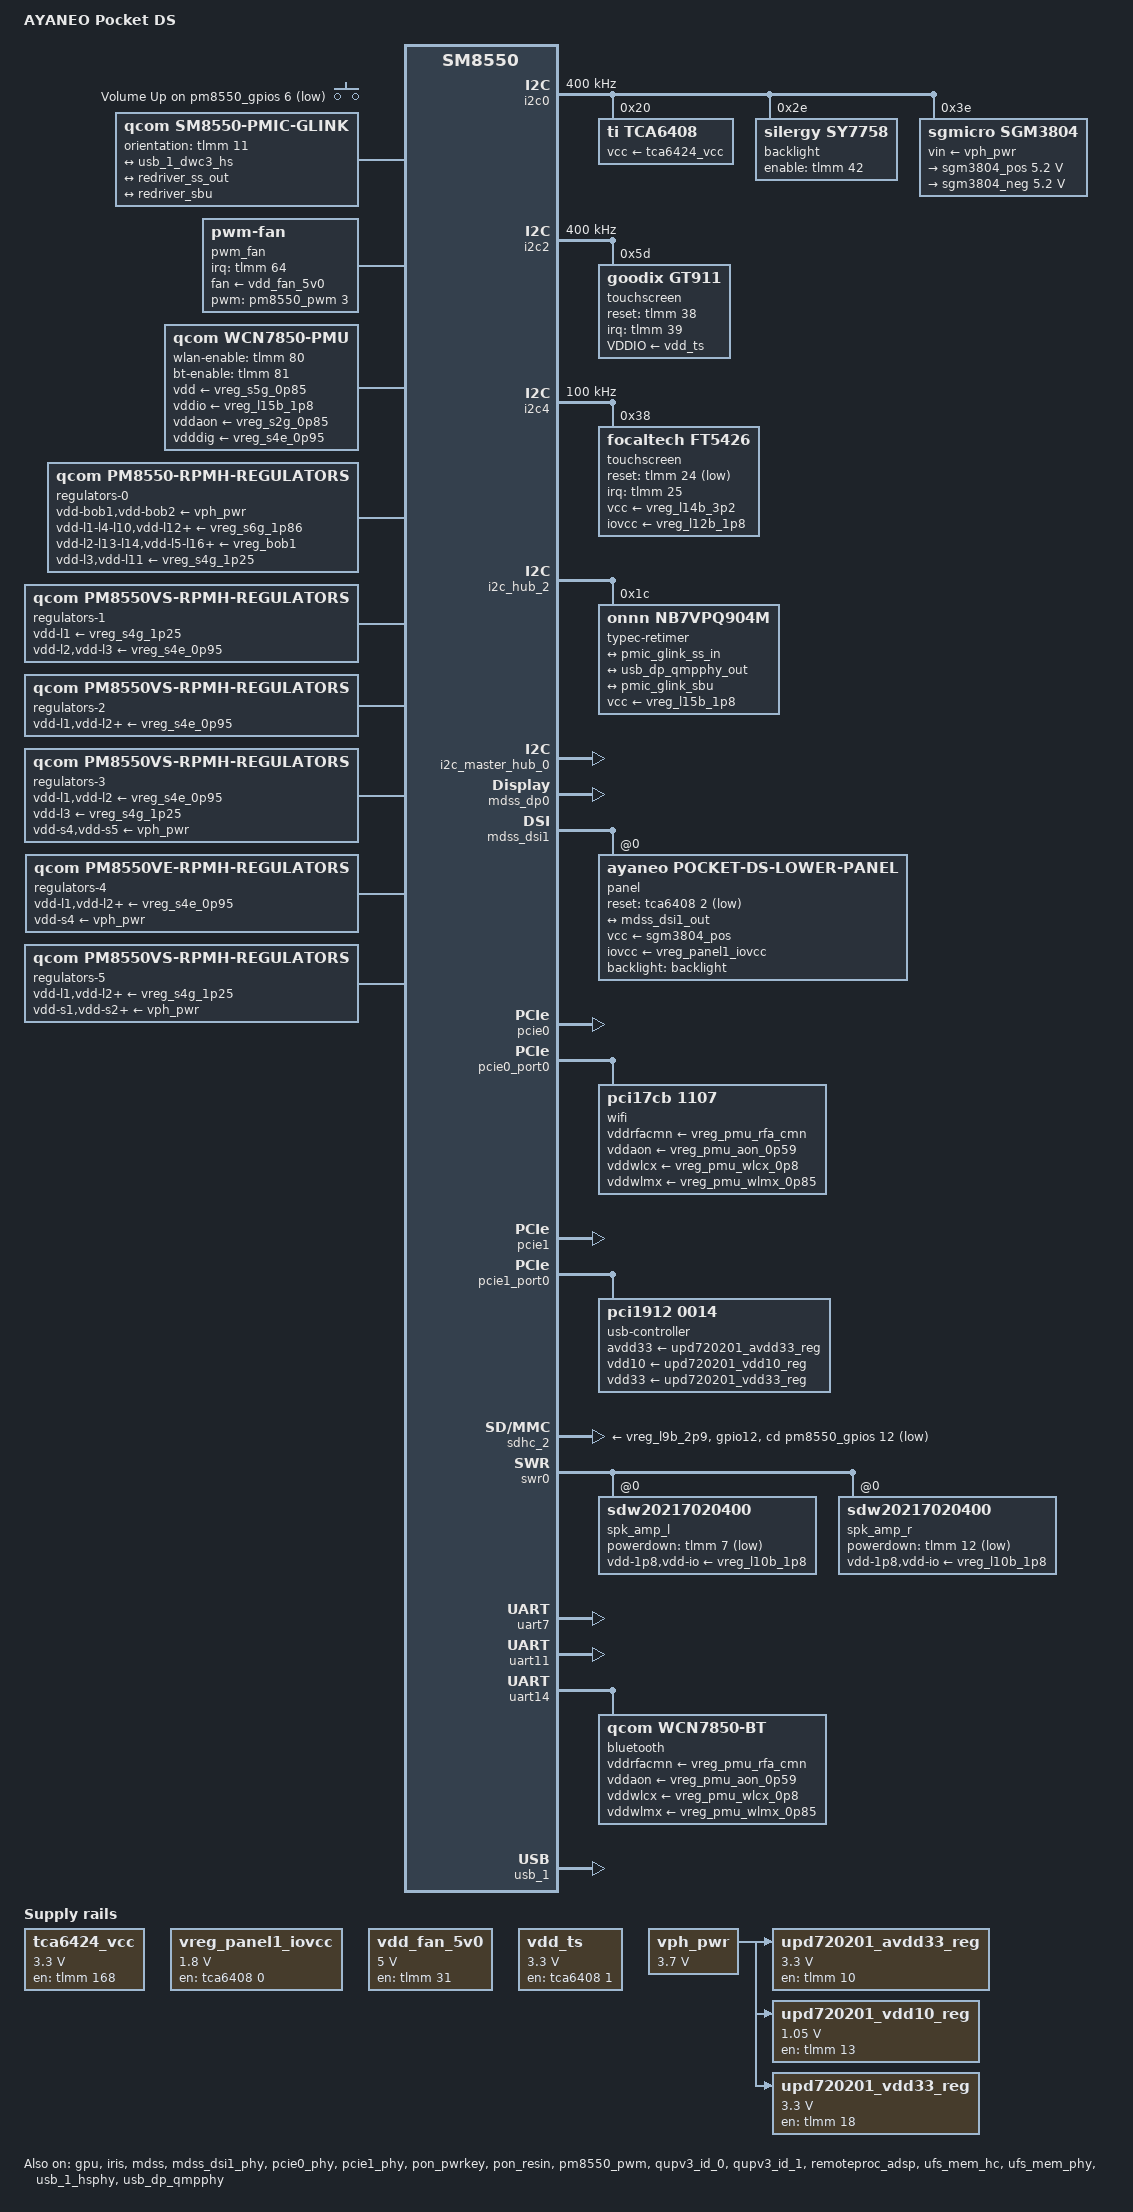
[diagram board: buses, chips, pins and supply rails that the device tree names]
// SPDX-License-Identifier: BSD-3-Clause
/*
 * Copyright (c) 2025, Teguh Sobirin.
 * Copyright (c) 2025, ROCKNIX (https://github.com/ROCKNIX)
 */

/dts-v1/;

#include <dt-bindings/input/input.h>
#include <dt-bindings/leds/common.h>
#include <dt-bindings/regulator/qcom,rpmh-regulator.h>
#include "qcs8550.dtsi"
#include "pm8550.dtsi"
#include "pm8550b.dtsi"
#define PMK8550VE_SID 5
#include "pm8550ve.dtsi"
#include "pm8550vs.dtsi"
#include "pmk8550.dtsi"

/delete-node/ &aop_image_mem;
/delete-node/ &aop_config_mem;
/delete-node/ &camera_mem;
/delete-node/ &ipa_fw_mem;
/delete-node/ &ipa_gsi_mem;
/delete-node/ &mpss_dsm_mem;
/delete-node/ &mpss_mem;
/delete-node/ &q6_mpss_dtb_mem;
/delete-node/ &cdsp_mem;
/delete-node/ &q6_cdsp_dtb_mem;

/ {
	model = "AYANEO Pocket DS";
	compatible = "ayaneo,pocket-ds", "qcom,qcs8550", "qcom,sm8550";

	aliases {
		serial0 = &uart7;
		serial1 = &uart14;
		serial2 = &uart11;
	};

	chosen {
		stdout-path = "serial0:115200n8";
	};

	gpio-keys {
		compatible = "gpio-keys";

		pinctrl-0 = <&volume_up_n>;
		pinctrl-names = "default";

		key-volume-up {
			label = "Volume Up";
			linux,code = <KEY_VOLUMEUP>;
			gpios = <&pm8550_gpios 6 GPIO_ACTIVE_LOW>;
			debounce-interval = <15>;
		};
	};

	pmic-glink {
		compatible = "qcom,sm8550-pmic-glink", "qcom,pmic-glink";

		#address-cells = <1>;
		#size-cells = <0>;

		orientation-gpios = <&tlmm 11 GPIO_ACTIVE_HIGH>;

		connector@0 {
			compatible = "usb-c-connector";

			reg = <0>;

			power-role = "dual";
			data-role = "dual";

			ports {
				#address-cells = <1>;
				#size-cells = <0>;

				port@0 {
					reg = <0>;

					pmic_glink_hs_in: endpoint {
						remote-endpoint = <&usb_1_dwc3_hs>;
					};
				};

				port@1 {
					reg = <1>;

					pmic_glink_ss_in: endpoint {
						remote-endpoint = <&redriver_ss_out>;
					};
				};

				port@2 {
					reg = <2>;

					pmic_glink_sbu: endpoint {
						remote-endpoint = <&redriver_sbu>;
					};
				};
			};
		};
	};

	pwm_fan: pwm-fan {
		compatible = "pwm-fan";

		pinctrl-0 = <&fan_pwm_active>, <&fan_int>;
		pinctrl-1 = <&fan_pwm_sleep>, <&fan_int>;
		pinctrl-names = "default", "sleep";

		fan-supply = <&vdd_fan_5v0>;
		pwms = <&pm8550_pwm 3 40000>;

		interrupt-parent = <&tlmm>;
		interrupts = <64 IRQ_TYPE_EDGE_FALLING>;

		#cooling-cells = <2>;
		cooling-levels = <0 30 45 60 70 90 120 150>;
	};

	reserved-memory {
		hyp_mem: hyp-region@80000000 {
			reg = <0 0x80000000 0 0xa00000>;
			no-map;
		};

		cpusys_vm_mem: cpusys-vm-region@80a00000 {
			reg = <0 0x80a00000 0 0x400000>;
			no-map;
		};

		hyp_tags_mem: hyp-tags-region@80e00000 {
			reg = <0 0x80e00000 0 0x3d0000>;
			no-map;
		};

		xbl_sc_mem: xbl-sc-region@d8100000 {
			reg = <0 0xd8100000 0 0x40000>;
			no-map;
		};

		hyp_tags_reserved_mem: hyp-tags-reserved-region@811d0000 {
			reg = <0 0x811d0000 0 0x30000>;
			no-map;
		};

		xbl_dt_log_merged_mem: xbl-dt-log-merged-region@81a00000 {
			reg = <0 0x81a00000 0 0x260000>;
			no-map;
		};

		aop_config_merged_mem: aop-config-merged-region@81c80000 {
			reg = <0 0x81c80000 0 0x74000>;
			no-map;
		};

		chipinfo_mem: chipinfo-region@81cf4000 {
			reg = <0 0x81cf4000 0 0x1000>;
			no-map;
		};

		global_sync_mem: global-sync-region@82600000 {
			reg = <0 0x82600000 0 0x100000>;
			no-map;
		};

		tz_stat_mem: tz-stat-region@82700000 {
			reg = <0 0x82700000 0 0x100000>;
			no-map;
		};

		cpucp_fw_mem: cpucp-fw-region@d8140000 {
			reg = <0 0xd8140000 0 0x1c0000>;
			no-map;
		};

		qtee_mem: qtee-region@d8300000 {
			reg = <0 0xd8300000 0 0x500000>;
			no-map;
		};

		hwfence_shbuf: hwfence-shbuf-region@e6440000 {
			reg = <0 0xe6440000 0 0x2dd000>;
			no-map;
		};

		hyp_ext_reserved_mem: hyp-ext-reserved-region@ff700000 {
			reg = <0 0xff700000 0 0x100000>;
			no-map;
		};

		llcc_lpi_mem: llcc-lpi-region@ff800000 {
			reg = <0 0xff800000 0 0x600000>;
			no-map;
		};

		hyp_ext_tags_mem: hyp-ext-tags-region@fce00000 {
			reg = <0 0xfce00000 0 0x2900000>;
			no-map;
		};

		splash_region: splash-region@b8000000 {
			reg = <0x0 0xb8000000 0x0 0x2b00000>;
			no-map;
		};
	};

	sound {
		compatible = "qcom,sm8550-sndcard", "qcom,sm8450-sndcard";
		model = "SM8550-APS";

		audio-routing = "SpkrLeft IN", "WSA_SPK1 OUT",
				"SpkrRight IN", "WSA_SPK2 OUT";

		wsa-dai-link {
			link-name = "WSA Playback";

			codec {
				sound-dai = <&spk_amp_l>,
					    <&spk_amp_r>,
					    <&swr0 0>,
					    <&lpass_wsamacro 0>;
			};

			cpu {
				sound-dai = <&q6apmbedai WSA_CODEC_DMA_RX_0>;
			};

			platform {
				sound-dai = <&q6apm>;
			};
		};

		va-dai-link {
			link-name = "VA Capture";

			codec {
				sound-dai = <&lpass_vamacro 0>;
			};

			cpu {
				sound-dai = <&q6apmbedai VA_CODEC_DMA_TX_0>;
			};

			platform {
				sound-dai = <&q6apm>;
			};
		};
	};

	tca6424_vcc: tca6424-vcc-regulator {
		compatible = "regulator-fixed";

		regulator-name = "tca6424_vcc";
		regulator-min-microvolt = <3300000>;
		regulator-max-microvolt = <3300000>;

		gpios = <&tlmm 168 GPIO_ACTIVE_HIGH>;
		enable-active-high;
		regulator-boot-on;

		regulator-state-mem {
			regulator-off-in-suspend;
		};
	};

	upd720201_avdd33_reg: upd720201-avdd33-regulator {
		compatible = "regulator-fixed";

		regulator-name = "upd720201_avdd33";
		regulator-min-microvolt = <3300000>;
		regulator-max-microvolt = <3300000>;

		gpios = <&tlmm 10 GPIO_ACTIVE_HIGH>;
		enable-active-high;

		vin-supply = <&vph_pwr>;

		pinctrl-0 = <&upd720201_avdd33>;
		pinctrl-names = "default";
	};

	upd720201_vdd10_reg: upd720201-vdd10-regulator {
		compatible = "regulator-fixed";

		regulator-name = "upd720201_vdd10";
		regulator-min-microvolt = <1050000>;
		regulator-max-microvolt = <1050000>;

		gpios = <&tlmm 13 GPIO_ACTIVE_HIGH>;
		enable-active-high;

		vin-supply = <&vph_pwr>;

		pinctrl-0 = <&upd720201_vdd10>;
		pinctrl-names = "default";
	};

	upd720201_vdd33_reg: upd720201-vdd33-regulator {
		compatible = "regulator-fixed";

		regulator-name = "upd720201_vdd33";
		regulator-min-microvolt = <3300000>;
		regulator-max-microvolt = <3300000>;

		gpios = <&tlmm 18 GPIO_ACTIVE_HIGH>;
		enable-active-high;

		vin-supply = <&vph_pwr>;

		pinctrl-0 = <&upd720201_vdd33>;
		pinctrl-names = "default";
	};

	vreg_panel1_iovcc: panel1-iovcc-regulator {
		compatible = "regulator-fixed";

		regulator-name = "panel1_iovcc";
		regulator-min-microvolt = <1800000>;
		regulator-max-microvolt = <1800000>;

		gpios = <&tca6408 0 GPIO_ACTIVE_HIGH>;
		enable-active-high;
	};

	vdd_fan_5v0: vdd-fan-5v0-regulator {
		compatible = "regulator-fixed";

		regulator-name = "vdd_fan_5v0";
		regulator-min-microvolt = <5000000>;
		regulator-max-microvolt = <5000000>;

		gpios = <&tlmm 31 GPIO_ACTIVE_HIGH>;
		enable-active-high;

		pinctrl-0 = <&fan_pwr_active>;
		pinctrl-names = "default";

		regulator-state-mem {
			regulator-off-in-suspend;
		};
	};

	vdd_ts: vdd-ts-regulator {
		compatible = "regulator-fixed";

		regulator-name = "vdd_ts_en";
		regulator-min-microvolt = <3300000>;
		regulator-max-microvolt = <3300000>;

		gpios = <&tca6408 1 GPIO_ACTIVE_HIGH>;
		enable-active-high;
	};

	vph_pwr: vph-pwr-regulator {
		compatible = "regulator-fixed";

		regulator-name = "vph_pwr";
		regulator-min-microvolt = <3700000>;
		regulator-max-microvolt = <3700000>;

		regulator-always-on;
		regulator-boot-on;
	};

	wcn7850-pmu {
		compatible = "qcom,wcn7850-pmu";

		pinctrl-0 = <&wlan_en>, <&bt_default>, <&pmk8550_sleep_clk>;
		pinctrl-names = "default";

		wlan-enable-gpios = <&tlmm 80 GPIO_ACTIVE_HIGH>;
		bt-enable-gpios = <&tlmm 81 GPIO_ACTIVE_HIGH>;

		vdd-supply = <&vreg_s5g_0p85>;
		vddio-supply = <&vreg_l15b_1p8>;
		vddaon-supply = <&vreg_s2g_0p85>;
		vdddig-supply = <&vreg_s4e_0p95>;
		vddrfa1p2-supply = <&vreg_s4g_1p25>;
		vddrfa1p8-supply = <&vreg_s6g_1p86>;

		regulators {
			vreg_pmu_rfa_cmn: ldo0 {
				regulator-name = "vreg_pmu_rfa_cmn";
			};

			vreg_pmu_aon_0p59: ldo1 {
				regulator-name = "vreg_pmu_aon_0p59";
			};

			vreg_pmu_wlcx_0p8: ldo2 {
				regulator-name = "vreg_pmu_wlcx_0p8";
			};

			vreg_pmu_wlmx_0p85: ldo3 {
				regulator-name = "vreg_pmu_wlmx_0p85";
			};

			vreg_pmu_btcmx_0p85: ldo4 {
				regulator-name = "vreg_pmu_btcmx_0p85";
			};

			vreg_pmu_rfa_0p8: ldo5 {
				regulator-name = "vreg_pmu_rfa_0p8";
			};

			vreg_pmu_rfa_1p2: ldo6 {
				regulator-name = "vreg_pmu_rfa_1p2";
			};

			vreg_pmu_rfa_1p8: ldo7 {
				regulator-name = "vreg_pmu_rfa_1p8";
			};

			vreg_pmu_pcie_0p9: ldo8 {
				regulator-name = "vreg_pmu_pcie_0p9";
			};

			vreg_pmu_pcie_1p8: ldo9 {
				regulator-name = "vreg_pmu_pcie_1p8";
			};
		};
	};
};

&apps_rsc {
	regulators-0 {
		compatible = "qcom,pm8550-rpmh-regulators";
		qcom,pmic-id = "b";

		vdd-bob1-supply = <&vph_pwr>;
		vdd-bob2-supply = <&vph_pwr>;
		vdd-l1-l4-l10-supply = <&vreg_s6g_1p86>;
		vdd-l2-l13-l14-supply = <&vreg_bob1>;
		vdd-l3-supply = <&vreg_s4g_1p25>;
		vdd-l5-l16-supply = <&vreg_bob1>;
		vdd-l6-l7-supply = <&vreg_bob1>;
		vdd-l8-l9-supply = <&vreg_bob1>;
		vdd-l11-supply = <&vreg_s4g_1p25>;
		vdd-l12-supply = <&vreg_s6g_1p86>;
		vdd-l15-supply = <&vreg_s6g_1p86>;
		vdd-l17-supply = <&vreg_bob2>;

		vreg_bob1: bob1 {
			regulator-name = "vreg_bob1";
			regulator-min-microvolt = <3296000>;
			regulator-max-microvolt = <3960000>;
			regulator-initial-mode = <RPMH_REGULATOR_MODE_HPM>;
		};

		vreg_bob2: bob2 {
			regulator-name = "vreg_bob2";
			regulator-min-microvolt = <2720000>;
			regulator-max-microvolt = <3960000>;
			regulator-initial-mode = <RPMH_REGULATOR_MODE_HPM>;
		};

		vreg_l2b_3p0: ldo2 {
			regulator-name = "vreg_l2b_3p0";
			regulator-min-microvolt = <3008000>;
			regulator-max-microvolt = <3008000>;
			regulator-initial-mode = <RPMH_REGULATOR_MODE_HPM>;
			regulator-allow-set-load;
			regulator-allowed-modes = <RPMH_REGULATOR_MODE_LPM
						   RPMH_REGULATOR_MODE_HPM>;
		};

		vreg_l5b_3p1: ldo5 {
			regulator-name = "vreg_l5b_3p1";
			regulator-min-microvolt = <3104000>;
			regulator-max-microvolt = <3104000>;
			regulator-initial-mode = <RPMH_REGULATOR_MODE_HPM>;
			regulator-allow-set-load;
			regulator-allowed-modes = <RPMH_REGULATOR_MODE_LPM
						   RPMH_REGULATOR_MODE_HPM>;
		};

		vreg_l6b_1p8: ldo6 {
			regulator-name = "vreg_l6b_1p8";
			regulator-min-microvolt = <1800000>;
			regulator-max-microvolt = <3008000>;
			regulator-initial-mode = <RPMH_REGULATOR_MODE_HPM>;
			regulator-allow-set-load;
			regulator-allowed-modes = <RPMH_REGULATOR_MODE_LPM
						   RPMH_REGULATOR_MODE_HPM>;
		};

		vreg_l7b_1p8: ldo7 {
			regulator-name = "vreg_l7b_1p8";
			regulator-min-microvolt = <1800000>;
			regulator-max-microvolt = <3008000>;
			regulator-initial-mode = <RPMH_REGULATOR_MODE_HPM>;
		};

		vreg_l8b_1p8: ldo8 {
			regulator-name = "vreg_l8b_1p8";
			regulator-min-microvolt = <1800000>;
			regulator-max-microvolt = <3008000>;
			regulator-initial-mode = <RPMH_REGULATOR_MODE_HPM>;
			regulator-allow-set-load;
			regulator-allowed-modes = <RPMH_REGULATOR_MODE_LPM
						   RPMH_REGULATOR_MODE_HPM>;
		};

		vreg_l9b_2p9: ldo9 {
			regulator-name = "vreg_l9b_2p9";
			regulator-min-microvolt = <2960000>;
			regulator-max-microvolt = <3008000>;
			regulator-initial-mode = <RPMH_REGULATOR_MODE_HPM>;
			regulator-allow-set-load;
			regulator-allowed-modes = <RPMH_REGULATOR_MODE_LPM
						   RPMH_REGULATOR_MODE_HPM>;
		};

		vreg_l10b_1p8: ldo10 {
			regulator-name = "vreg_l10b_1p8";
			regulator-min-microvolt = <1800000>;
			regulator-max-microvolt = <1800000>;
			regulator-initial-mode = <RPMH_REGULATOR_MODE_HPM>;
			regulator-allow-set-load;
			regulator-allowed-modes = <RPMH_REGULATOR_MODE_LPM
						   RPMH_REGULATOR_MODE_HPM>;
		};

		vreg_l11b_1p2: ldo11 {
			regulator-name = "vreg_l11b_1p2";
			regulator-min-microvolt = <1200000>;
			regulator-max-microvolt = <1504000>;
			regulator-initial-mode = <RPMH_REGULATOR_MODE_HPM>;
			regulator-allow-set-load;
			regulator-allowed-modes = <RPMH_REGULATOR_MODE_LPM
						   RPMH_REGULATOR_MODE_HPM>;
		};

		vreg_l12b_1p8: ldo12 {
			regulator-name = "vreg_l12b_1p8";
			regulator-min-microvolt = <1800000>;
			regulator-max-microvolt = <1800000>;
			regulator-initial-mode = <RPMH_REGULATOR_MODE_HPM>;
			regulator-allow-set-load;
			regulator-allowed-modes = <RPMH_REGULATOR_MODE_LPM
						   RPMH_REGULATOR_MODE_HPM>;
		};

		vreg_l13b_3p0: ldo13 {
			regulator-name = "vreg_l13b_3p0";
			regulator-min-microvolt = <3000000>;
			regulator-max-microvolt = <3000000>;
			regulator-initial-mode = <RPMH_REGULATOR_MODE_HPM>;
			regulator-allow-set-load;
			regulator-allowed-modes = <RPMH_REGULATOR_MODE_LPM
						   RPMH_REGULATOR_MODE_HPM>;
		};

		vreg_l14b_3p2: ldo14 {
			regulator-name = "vreg_l14b_3p2";
			regulator-min-microvolt = <3200000>;
			regulator-max-microvolt = <3200000>;
			regulator-initial-mode = <RPMH_REGULATOR_MODE_HPM>;
			regulator-allow-set-load;
			regulator-allowed-modes = <RPMH_REGULATOR_MODE_LPM
						   RPMH_REGULATOR_MODE_HPM>;
		};

		vreg_l15b_1p8: ldo15 {
			regulator-name = "vreg_l15b_1p8";
			regulator-min-microvolt = <1800000>;
			regulator-max-microvolt = <1800000>;
			regulator-initial-mode = <RPMH_REGULATOR_MODE_HPM>;
			regulator-allow-set-load;
			regulator-allowed-modes = <RPMH_REGULATOR_MODE_LPM
						   RPMH_REGULATOR_MODE_HPM>;
		};

		vreg_l16b_2p8: ldo16 {
			regulator-name = "vreg_l16b_2p8";
			regulator-min-microvolt = <2800000>;
			regulator-max-microvolt = <2800000>;
			regulator-initial-mode = <RPMH_REGULATOR_MODE_HPM>;
			regulator-allow-set-load;
			regulator-allowed-modes = <RPMH_REGULATOR_MODE_LPM
						   RPMH_REGULATOR_MODE_HPM>;
		};

		vreg_l17b_2p5: ldo17 {
			regulator-name = "vreg_l17b_2p5";
			regulator-min-microvolt = <2504000>;
			regulator-max-microvolt = <2504000>;
			regulator-initial-mode = <RPMH_REGULATOR_MODE_HPM>;
		};
	};

	regulators-1 {
		compatible = "qcom,pm8550vs-rpmh-regulators";
		qcom,pmic-id = "c";

		vdd-l1-supply = <&vreg_s4g_1p25>;
		vdd-l2-supply = <&vreg_s4e_0p95>;
		vdd-l3-supply = <&vreg_s4e_0p95>;

		vreg_l3c_0p9: ldo3 {
			regulator-name = "vreg_l3c_0p9";
			regulator-min-microvolt = <880000>;
			regulator-max-microvolt = <912000>;
			regulator-initial-mode = <RPMH_REGULATOR_MODE_HPM>;
			regulator-allow-set-load;
			regulator-allowed-modes = <RPMH_REGULATOR_MODE_LPM
						   RPMH_REGULATOR_MODE_HPM>;
		};
	};

	regulators-2 {
		compatible = "qcom,pm8550vs-rpmh-regulators";
		qcom,pmic-id = "d";

		vdd-l1-supply = <&vreg_s4e_0p95>;
		vdd-l2-supply = <&vreg_s4e_0p95>;
		vdd-l3-supply = <&vreg_s4e_0p95>;

		vreg_l1d_0p88: ldo1 {
			regulator-name = "vreg_l1d_0p88";
			regulator-min-microvolt = <880000>;
			regulator-max-microvolt = <920000>;
			regulator-initial-mode = <RPMH_REGULATOR_MODE_HPM>;
			regulator-allow-set-load;
			regulator-allowed-modes = <RPMH_REGULATOR_MODE_LPM
						   RPMH_REGULATOR_MODE_HPM>;
		};
	};

	regulators-3 {
		compatible = "qcom,pm8550vs-rpmh-regulators";
		qcom,pmic-id = "e";

		vdd-l1-supply = <&vreg_s4e_0p95>;
		vdd-l2-supply = <&vreg_s4e_0p95>;
		vdd-l3-supply = <&vreg_s4g_1p25>;
		vdd-s4-supply = <&vph_pwr>;
		vdd-s5-supply = <&vph_pwr>;

		vreg_s4e_0p95: smps4 {
			regulator-name = "vreg_s4e_0p95";
			regulator-min-microvolt = <904000>;
			regulator-max-microvolt = <984000>;
			regulator-initial-mode = <RPMH_REGULATOR_MODE_HPM>;
		};

		vreg_s5e_1p08: smps5 {
			regulator-name = "vreg_s5e_1p08";
			regulator-min-microvolt = <1010000>;
			regulator-max-microvolt = <1120000>;
			regulator-initial-mode = <RPMH_REGULATOR_MODE_HPM>;
		};

		vreg_l1e_0p88: ldo1 {
			regulator-name = "vreg_l1e_0p88";
			regulator-min-microvolt = <880000>;
			regulator-max-microvolt = <880000>;
			regulator-initial-mode = <RPMH_REGULATOR_MODE_HPM>;
			regulator-allow-set-load;
			regulator-allowed-modes = <RPMH_REGULATOR_MODE_LPM
						   RPMH_REGULATOR_MODE_HPM>;
		};

		vreg_l2e_0p9: ldo2 {
			regulator-name = "vreg_l2e_0p9";
			regulator-min-microvolt = <904000>;
			regulator-max-microvolt = <970000>;
			regulator-initial-mode = <RPMH_REGULATOR_MODE_HPM>;
			regulator-allow-set-load;
			regulator-allowed-modes = <RPMH_REGULATOR_MODE_LPM
						   RPMH_REGULATOR_MODE_HPM>;
		};

		vreg_l3e_1p2: ldo3 {
			regulator-name = "vreg_l3e_1p2";
			regulator-min-microvolt = <1200000>;
			regulator-max-microvolt = <1200000>;
			regulator-initial-mode = <RPMH_REGULATOR_MODE_HPM>;
			regulator-allow-set-load;
			regulator-allowed-modes = <RPMH_REGULATOR_MODE_LPM
						   RPMH_REGULATOR_MODE_HPM>;
		};
	};

	regulators-4 {
		compatible = "qcom,pm8550ve-rpmh-regulators";
		qcom,pmic-id = "f";

		vdd-l1-supply = <&vreg_s4e_0p95>;
		vdd-l2-supply = <&vreg_s4e_0p95>;
		vdd-l3-supply = <&vreg_s4e_0p95>;
		vdd-s4-supply = <&vph_pwr>;

		vreg_s4f_0p5: smps4 {
			regulator-name = "vreg_s4f_0p5";
			regulator-min-microvolt = <500000>;
			regulator-max-microvolt = <700000>;
			regulator-initial-mode = <RPMH_REGULATOR_MODE_HPM>;
		};

		vreg_l1f_0p9: ldo1 {
			regulator-name = "vreg_l1f_0p9";
			regulator-min-microvolt = <912000>;
			regulator-max-microvolt = <912000>;
			regulator-initial-mode = <RPMH_REGULATOR_MODE_HPM>;
			regulator-allow-set-load;
			regulator-allowed-modes = <RPMH_REGULATOR_MODE_LPM
						   RPMH_REGULATOR_MODE_HPM>;
		};

		vreg_l2f_0p88: ldo2 {
			regulator-name = "vreg_l2f_0p88";
			regulator-min-microvolt = <880000>;
			regulator-max-microvolt = <912000>;
			regulator-initial-mode = <RPMH_REGULATOR_MODE_HPM>;
			regulator-allow-set-load;
			regulator-allowed-modes = <RPMH_REGULATOR_MODE_LPM
						   RPMH_REGULATOR_MODE_HPM>;
		};

		vreg_l3f_0p88: ldo3 {
			regulator-name = "vreg_l3f_0p88";
			regulator-min-microvolt = <880000>;
			regulator-max-microvolt = <912000>;
			regulator-initial-mode = <RPMH_REGULATOR_MODE_HPM>;
			regulator-allow-set-load;
			regulator-allowed-modes = <RPMH_REGULATOR_MODE_LPM
						   RPMH_REGULATOR_MODE_HPM>;
		};
	};

	regulators-5 {
		compatible = "qcom,pm8550vs-rpmh-regulators";
		qcom,pmic-id = "g";

		vdd-l1-supply = <&vreg_s4g_1p25>;
		vdd-l2-supply = <&vreg_s4g_1p25>;
		vdd-l3-supply = <&vreg_s4g_1p25>;
		vdd-s1-supply = <&vph_pwr>;
		vdd-s2-supply = <&vph_pwr>;
		vdd-s3-supply = <&vph_pwr>;
		vdd-s4-supply = <&vph_pwr>;
		vdd-s5-supply = <&vph_pwr>;
		vdd-s6-supply = <&vph_pwr>;

		vreg_s1g_1p25: smps1 {
			regulator-name = "vreg_s1g_1p25";
			regulator-min-microvolt = <1200000>;
			regulator-max-microvolt = <1300000>;
			regulator-initial-mode = <RPMH_REGULATOR_MODE_HPM>;
		};

		vreg_s2g_0p85: smps2 {
			regulator-name = "vreg_s2g_0p85";
			regulator-min-microvolt = <800000>;
			regulator-max-microvolt = <1000000>;
			regulator-initial-mode = <RPMH_REGULATOR_MODE_HPM>;
		};

		vreg_s3g_0p8: smps3 {
			regulator-name = "vreg_s3g_0p8";
			regulator-min-microvolt = <300000>;
			regulator-max-microvolt = <1004000>;
			regulator-initial-mode = <RPMH_REGULATOR_MODE_HPM>;
		};

		vreg_s4g_1p25: smps4 {
			regulator-name = "vreg_s4g_1p25";
			regulator-min-microvolt = <1200000>;
			regulator-max-microvolt = <1352000>;
			regulator-initial-mode = <RPMH_REGULATOR_MODE_HPM>;
		};

		vreg_s5g_0p85: smps5 {
			regulator-name = "vreg_s5g_0p85";
			regulator-min-microvolt = <500000>;
			regulator-max-microvolt = <1004000>;
			regulator-initial-mode = <RPMH_REGULATOR_MODE_HPM>;
		};

		vreg_s6g_1p86: smps6 {
			regulator-name = "vreg_s6g_1p86";
			regulator-min-microvolt = <1800000>;
			regulator-max-microvolt = <2000000>;
			regulator-initial-mode = <RPMH_REGULATOR_MODE_HPM>;
		};

		vreg_l1g_1p2: ldo1 {
			regulator-name = "vreg_l1g_1p2";
			regulator-min-microvolt = <1200000>;
			regulator-max-microvolt = <1200000>;
			regulator-initial-mode = <RPMH_REGULATOR_MODE_HPM>;
			regulator-allow-set-load;
			regulator-allowed-modes = <RPMH_REGULATOR_MODE_LPM
						   RPMH_REGULATOR_MODE_HPM>;
		};

		vreg_l3g_1p2: ldo3 {
			regulator-name = "vreg_l3g_1p2";
			regulator-min-microvolt = <1200000>;
			regulator-max-microvolt = <1200000>;
			regulator-initial-mode = <RPMH_REGULATOR_MODE_HPM>;
			regulator-allow-set-load;
			regulator-allowed-modes = <RPMH_REGULATOR_MODE_LPM
						   RPMH_REGULATOR_MODE_HPM>;
		};
	};
};

&gpi_dma1 {
	status = "okay";
};

&gpi_dma2 {
	status = "okay";
};

&gpu {
	status = "okay";
};

&gpu_zap_shader {
	firmware-name = "qcom/sm8550/a740_zap.mbn";
};

&i2c0 {
	clock-frequency = <400000>;

	status = "okay";

	tca6408: gpio@20 {
		compatible = "ti,tca6408";
		reg = <0x20>;

		gpio-controller;
		#gpio-cells = <2>;

		vcc-supply = <&tca6424_vcc>;
	};

	backlight: backlight@2e {
		compatible = "silergy,sy7758";
		reg = <0x2e>;

		enable-gpios = <&tlmm 42 GPIO_ACTIVE_HIGH>;
	};

	sgm3804: regulator@3e {
		compatible = "sgmicro,sgm3804";
		reg = <0x3e>;

		vin-supply = <&vph_pwr>;

		sgm3804_pos: pos {
			regulator-name = "panel1_avdd";
			regulator-min-microvolt = <5200000>;
			regulator-max-microvolt = <5200000>;

			enable-gpios = <&tlmm 152 GPIO_ACTIVE_HIGH>;
		};

		sgm3804_neg: neg {
			regulator-name = "panel1_avee";
			regulator-min-microvolt = <5200000>;
			regulator-max-microvolt = <5200000>;

			enable-gpios = <&tlmm 153 GPIO_ACTIVE_HIGH>;

			regulator-always-on;
		};
	};
};

&i2c2 {
	clock-frequency = <400000>;

	status = "okay";

	touchscreen@5d {
		compatible = "goodix,gt911";
		reg = <0x5d>;

		interrupt-parent = <&tlmm>;
		interrupts = <39 IRQ_TYPE_EDGE_FALLING>;

		reset-gpios = <&tlmm 38 GPIO_ACTIVE_HIGH>;
		irq-gpios = <&tlmm 39 GPIO_ACTIVE_HIGH>;

		VDDIO-supply = <&vdd_ts>;

		pinctrl-0 = <&ts2_reset>, <&ts2_irq>;
		pinctrl-names = "default";

		touchscreen-size-x = <768>;
		touchscreen-size-y = <1024>;
	};
};

&i2c4 {
	clock-frequency = <100000>;

	status = "okay";

	touchscreen: touchscreen@38 {
		compatible = "focaltech,ft5426";
		reg = <0x38>;

		interrupt-parent = <&tlmm>;
		interrupts = <25 IRQ_TYPE_EDGE_FALLING>;

		reset-gpios = <&tlmm 24 GPIO_ACTIVE_LOW>;

		vcc-supply = <&vreg_l14b_3p2>;
		iovcc-supply = <&vreg_l12b_1p8>;

		pinctrl-0 = <&ts_int_default &ts_rst_default>;
		pinctrl-1 = <&ts_int_sleep &ts_rst_sleep>;
		pinctrl-names = "default", "sleep";

		touchscreen-size-x = <1080>;
		touchscreen-size-y = <1920>;
	};
};

&i2c_hub_2 {
	status = "okay";

	typec-retimer@1c {
		compatible = "onnn,nb7vpq904m";
		reg = <0x1c>;

		vcc-supply = <&vreg_l15b_1p8>;

		retimer-switch;
		orientation-switch;

		ports {
			#address-cells = <1>;
			#size-cells = <0>;

			port@0 {
				reg = <0>;

				redriver_ss_out: endpoint {
					remote-endpoint = <&pmic_glink_ss_in>;
				};
			};

			port@1 {
				reg = <1>;

				redriver_ss_in: endpoint {
					data-lanes = <3 2 1 0>;
					remote-endpoint = <&usb_dp_qmpphy_out>;
				};
			};

			port@2 {
				reg = <2>;

				redriver_sbu: endpoint {
					remote-endpoint = <&pmic_glink_sbu>;
				};
			};
		};
	};
};

&i2c_master_hub_0 {
	status = "okay";
};

&ipa {
	/delete-property/ memory-region;
};

&iris {
	status = "okay";
};

/* DMIC 01 23 */
&lpass_vamacro {
	pinctrl-0 = <&dmic01_default>, <&dmic23_default>;
	pinctrl-names = "default";

	vdd-micb-supply = <&vreg_l10b_1p8>;

	qcom,dmic-sample-rate = <4800000>;
};

&mdss {
	status = "okay";
};

&mdss_dp0 {
	status = "okay";
};

&mdss_dp0_out {
	data-lanes = <0 1 2 3>;
};

&mdss_dsi1 {
	vdda-supply = <&vreg_l3e_1p2>;

	status = "okay";

	panel@0 {
		compatible = "ayaneo,pocket-ds-lower-panel";
		reg = <0>;

		vcc-supply = <&sgm3804_pos>;
		iovcc-supply = <&vreg_panel1_iovcc>;

		reset-gpios = <&tca6408 2 GPIO_ACTIVE_LOW>;
		backlight = <&backlight>;
		rotation = <270>;

		pinctrl-0 = <&sde_dsi1_active>;
		pinctrl-1 = <&sde_dsi1_suspend>;
		pinctrl-names = "default", "sleep";

		port {
			panel1_in: endpoint {
				remote-endpoint = <&mdss_dsi1_out>;
			};
		};
	};
};

&mdss_dsi1_out {
	remote-endpoint = <&panel1_in>;
	data-lanes = <0 1 2 3>;
};

&mdss_dsi1_phy {
	vdds-supply = <&vreg_l1e_0p88>;

	status = "okay";
};

&pcie0 {
	wake-gpios = <&tlmm 96 GPIO_ACTIVE_HIGH>;
	perst-gpios = <&tlmm 94 GPIO_ACTIVE_LOW>;

	max-link-speed = <2>;

	pinctrl-0 = <&pcie0_default_state>;
	pinctrl-names = "default";

	status = "okay";
};

&pcie0_phy {
	vdda-phy-supply = <&vreg_l1e_0p88>;
	vdda-pll-supply = <&vreg_l3e_1p2>;

	status = "okay";
};

&pcie0_port0 {
	wifi@0 {
		compatible = "pci17cb,1107";
		reg = <0x10000 0x0 0x0 0x0 0x0>;

		vddrfacmn-supply = <&vreg_pmu_rfa_cmn>;
		vddaon-supply = <&vreg_pmu_aon_0p59>;
		vddwlcx-supply = <&vreg_pmu_wlcx_0p8>;
		vddwlmx-supply = <&vreg_pmu_wlmx_0p85>;
		vddrfa0p8-supply = <&vreg_pmu_rfa_0p8>;
		vddrfa1p2-supply = <&vreg_pmu_rfa_1p2>;
		vddrfa1p8-supply = <&vreg_pmu_rfa_1p8>;
		vddpcie0p9-supply = <&vreg_pmu_pcie_0p9>;
		vddpcie1p8-supply = <&vreg_pmu_pcie_1p8>;
	};
};

&pcie1 {
	wake-gpios = <&tlmm 99 GPIO_ACTIVE_HIGH>;
	perst-gpios = <&tlmm 97 GPIO_ACTIVE_LOW>;

	pinctrl-0 = <&pcie1_default_state>;
	pinctrl-names = "default";

	status = "okay";
};

&pcie1_phy {
	vdda-phy-supply = <&vreg_l3c_0p9>;
	vdda-pll-supply = <&vreg_l3e_1p2>;
	vdda-qref-supply = <&vreg_l1e_0p88>;

	status = "okay";
};

&pcie1_port0 {
	/* Renesas μPD720201 PCIe USB3.0 HOST CONTROLLER */
	usb-controller@0 {
		compatible = "pci1912,0014";
		reg = <0x10000 0x0 0x0 0x0 0x0>;

		avdd33-supply = <&upd720201_avdd33_reg>;
		vdd10-supply = <&upd720201_vdd10_reg>;
		vdd33-supply = <&upd720201_vdd33_reg>;

		pinctrl-0 = <&gamepad_pwr_en>;
		pinctrl-names = "default";
	};
};

&pon_pwrkey {
	status = "okay";
};

&pon_resin {
	linux,code = <KEY_VOLUMEDOWN>;

	status = "okay";
};

&pm8550_gpios {
	sdc2_card_det_n: sdc2-card-det-n-state {
		pins = "gpio12";
		function = "normal";
		input-enable;
		output-disable;
		bias-pull-up;
		power-source = <1>;
	};

	volume_up_n: volume-up-n-state {
		pins = "gpio6";
		function = "normal";
		power-source = <1>;
		bias-pull-up;
		input-enable;
	};

	fan_pwm_active: fan-pwm-active-state {
		pins = "gpio9";
		function = "func1";
		output-low;
		bias-disable;
		power-source = <0>;
		qcom,drive-strength = <3>; /* PMIC_GPIO_STRENGTH_LOW */
	};

	fan_pwm_sleep: fan-pwm-sleep-state {
		pins = "gpio9";
		function = "normal";
		output-high;
		bias-disable;
		power-source = <0>;
		qcom,drive-strength = <3>; /* PMIC_GPIO_STRENGTH_LOW */
	};
};

&pm8550_pwm {
	status = "okay";

	multi-led {
		color = <LED_COLOR_ID_RGB>;
		function = LED_FUNCTION_STATUS;
		label = "Power Status";

		#address-cells = <1>;
		#size-cells = <0>;

		led@1 {
			reg = <1>;
			color = <LED_COLOR_ID_RED>;
		};

		led@2 {
			reg = <2>;
			color = <LED_COLOR_ID_GREEN>;
		};

		led@3 {
			reg = <3>;
			color = <LED_COLOR_ID_BLUE>;
		};
	};
};

&pm8550b_eusb2_repeater {
	vdd18-supply = <&vreg_l15b_1p8>;
	vdd3-supply = <&vreg_l5b_3p1>;
};

&pmk8550_gpios {
	pmk8550_sleep_clk: sleep-clk-state {
		pins = "gpio3";
		function = "func1";
		input-disable;
		output-enable;
		bias-disable;
		power-source = <0>;
	};
};

&pmk8550_rtc {
	nvmem-cells = <&rtc_offset>;
	nvmem-cell-names = "offset";
};

&pmk8550_sdam_2 {
	rtc_offset: rtc-offset@bc {
		reg = <0xbc 0x4>;
	};
};

&qupv3_id_0 {
	status = "okay";
};

&qupv3_id_1 {
	status = "okay";
};

&remoteproc_adsp {
	firmware-name = "qcom/sm8550/ayaneo/adsp.mbn",
			"qcom/sm8550/ayaneo/adsp_dtb.mbn";

	status = "okay";
};

&remoteproc_cdsp {
	/delete-property/ memory-region;
};

&remoteproc_mpss {
	/delete-property/ memory-region;
};

&sdhc_2 {
	cd-gpios = <&pm8550_gpios 12 GPIO_ACTIVE_LOW>;

	pinctrl-0 = <&sdc2_default &sdc2_card_det_n>;
	pinctrl-1 = <&sdc2_sleep &sdc2_card_det_n>;
	pinctrl-names = "default", "sleep";

	vmmc-supply = <&vreg_l9b_2p9>;
	vqmmc-supply = <&vreg_l8b_1p8>;

	no-sdio;
	no-mmc;

	sd-uhs-sdr12;
	sd-uhs-sdr25;
	sd-uhs-sdr50;
	sd-uhs-sdr104;
	sd-uhs-ddr50;

	qcom,dll-config = <0x0007442c>;

	status = "okay";
};

&sleep_clk {
	clock-frequency = <32764>;
};

&swr0 {
	status = "okay";

	spk_amp_l: speaker@0,0 {
		compatible = "sdw20217020400";
		reg = <0 0>;

		pinctrl-0 = <&spkr_1_sd_n_active>;
		pinctrl-names = "default";

		powerdown-gpios = <&tlmm 7 GPIO_ACTIVE_LOW>;

		vdd-1p8-supply = <&vreg_l10b_1p8>;
		vdd-io-supply = <&vreg_l10b_1p8>;

		#sound-dai-cells = <0>;
		sound-name-prefix = "SpkrLeft";
		qcom,port-mapping = <1 2 3 7 10 13>;
	};

	spk_amp_r: speaker@0,1 {
		compatible = "sdw20217020400";
		reg = <0 1>;

		pinctrl-0 = <&spkr_2_sd_n_active>;
		pinctrl-names = "default";

		powerdown-gpios = <&tlmm 12 GPIO_ACTIVE_LOW>;

		vdd-1p8-supply = <&vreg_l10b_1p8>;
		vdd-io-supply = <&vreg_l10b_1p8>;

		#sound-dai-cells = <0>;
		sound-name-prefix = "SpkrRight";
		qcom,port-mapping = <4 5 6 7 11 13>;
	};
};

&thermal_cpu7_top {
	trips {
		cpu7_active: cpu7-active {
			temperature = <50000>;
			hysteresis = <3000>;
			type = "active";
		};
	};

	cooling-maps {
		map {
			trip = <&cpu7_active>;
			cooling-device = <&pwm_fan THERMAL_NO_LIMIT THERMAL_NO_LIMIT>;
		};
	};
};

&thermal_cpuss0 {
	trips {
		cpuss0_active: cpuss0-active {
			temperature = <50000>;
			hysteresis = <3000>;
			type = "active";
		};
	};

	cooling-maps {
		map {
			trip = <&cpuss0_active>;
			cooling-device = <&pwm_fan THERMAL_NO_LIMIT THERMAL_NO_LIMIT>;
		};
	};
};

&thermal_cpuss1 {
	trips {
		cpuss1_active: cpuss1-active {
			temperature = <50000>;
			hysteresis = <3000>;
			type = "active";
		};
	};

	cooling-maps {
		map {
			trip = <&cpuss1_active>;
			cooling-device = <&pwm_fan THERMAL_NO_LIMIT THERMAL_NO_LIMIT>;
		};
	};
};

&thermal_cpuss2 {
	trips {
		cpuss2_active: cpuss2-active {
			temperature = <50000>;
			hysteresis = <3000>;
			type = "active";
		};
	};

	cooling-maps {
		map {
			trip = <&cpuss2_active>;
			cooling-device = <&pwm_fan THERMAL_NO_LIMIT THERMAL_NO_LIMIT>;
		};
	};
};

&thermal_cpuss3 {
	trips {
		cpuss3_active: cpuss3-active {
			temperature = <50000>;
			hysteresis = <3000>;
			type = "active";
		};
	};

	cooling-maps {
		map {
			trip = <&cpuss3_active>;
			cooling-device = <&pwm_fan THERMAL_NO_LIMIT THERMAL_NO_LIMIT>;
		};
	};
};

&thermal_gpuss0 {
	trips {
		gpuss0_active: gpuss0-active {
			temperature = <55000>;
			hysteresis = <3000>;
			type = "active";
		};
	};

	cooling-maps {
		map {
			trip = <&gpuss0_active>;
			cooling-device = <&pwm_fan THERMAL_NO_LIMIT THERMAL_NO_LIMIT>;
		};
	};
};

&thermal_gpuss1 {
	trips {
		gpuss1_active: gpuss1-active {
			temperature = <55000>;
			hysteresis = <3000>;
			type = "active";
		};
	};

	cooling-maps {
		map {
			trip = <&gpuss1_active>;
			cooling-device = <&pwm_fan THERMAL_NO_LIMIT THERMAL_NO_LIMIT>;
		};
	};
};

&thermal_gpuss2 {
	trips {
		gpuss2_active: gpuss2-active {
			temperature = <55000>;
			hysteresis = <3000>;
			type = "active";
		};
	};

	cooling-maps {
		map {
			trip = <&gpuss2_active>;
			cooling-device = <&pwm_fan THERMAL_NO_LIMIT THERMAL_NO_LIMIT>;
		};
	};
};

&thermal_gpuss3 {
	trips {
		gpuss3_active: gpuss3-active {
			temperature = <55000>;
			hysteresis = <3000>;
			type = "active";
		};
	};

	cooling-maps {
		map {
			trip = <&gpuss3_active>;
			cooling-device = <&pwm_fan THERMAL_NO_LIMIT THERMAL_NO_LIMIT>;
		};
	};
};

&thermal_gpuss4 {
	trips {
		gpuss4_active: gpuss4-active {
			temperature = <55000>;
			hysteresis = <3000>;
			type = "active";
		};
	};

	cooling-maps {
		map {
			trip = <&gpuss4_active>;
			cooling-device = <&pwm_fan THERMAL_NO_LIMIT THERMAL_NO_LIMIT>;
		};
	};
};

&thermal_gpuss5 {
	trips {
		gpuss5_active: gpuss5-active {
			temperature = <55000>;
			hysteresis = <3000>;
			type = "active";
		};
	};

	cooling-maps {
		map {
			trip = <&gpuss5_active>;
			cooling-device = <&pwm_fan THERMAL_NO_LIMIT THERMAL_NO_LIMIT>;
		};
	};
};

&thermal_gpuss6 {
	trips {
		gpuss6_active: gpuss6-active {
			temperature = <55000>;
			hysteresis = <3000>;
			type = "active";
		};
	};

	cooling-maps {
		map {
			trip = <&gpuss6_active>;
			cooling-device = <&pwm_fan THERMAL_NO_LIMIT THERMAL_NO_LIMIT>;
		};
	};
};

&thermal_gpuss7 {
	trips {
		gpuss7_active: gpuss7-active {
			temperature = <55000>;
			hysteresis = <3000>;
			type = "active";
		};
	};

	cooling-maps {
		map {
			trip = <&gpuss7_active>;
			cooling-device = <&pwm_fan THERMAL_NO_LIMIT THERMAL_NO_LIMIT>;
		};
	};
};

&tlmm {
	gpio-reserved-ranges = <32 4>;

	bt_default: bt-default-state {
		bt-en-pins {
			pins = "gpio81";
			function = "gpio";
			drive-strength = <16>;
			bias-disable;
		};

		sw-ctrl-pins {
			pins = "gpio82";
			function = "gpio";
			bias-pull-down;
		};
	};

	fan_pwr_active: fan-pwr-active-state {
		pins = "gpio31";
		function = "gpio";
		drive-strength = <2>;
		bias-disable;
	};

	fan_int: fan-int-state {
		pins = "gpio64";
		function = "gpio";
		drive-strength = <2>;
		bias-pull-up;
	};

	upd720201_avdd33: upd720201-avdd33-state {
		pins = "gpio10";
		function = "gpio";
		drive-strength = <2>;
		bias-disable;
	};

	upd720201_vdd10: upd720201-vdd10-state {
		pins = "gpio13";
		function = "gpio";
		drive-strength = <2>;
		bias-disable;
	};

	upd720201_vdd33: upd720201-vdd33-state {
		pins = "gpio18";
		function = "gpio";
		drive-strength = <2>;
		bias-disable;
	};

	gamepad_pwr_en: gamepad-pwr-en-active-state {
		pins = "gpio52";
		function = "gpio";
		drive-strength = <2>;
		bias-disable;
		output-high;
	};

	wlan_en: wlan-en-state {
		pins = "gpio80";
		function = "gpio";
		drive-strength = <8>;
		bias-pull-down;
	};

	spkr_1_sd_n_active: spkr-1-sd-n-active-state {
		pins = "gpio7";
		function = "gpio";
		drive-strength = <16>;
		bias-disable;
	};

	spkr_2_sd_n_active: spkr-2-sd-n-active-state {
		pins = "gpio12";
		function = "gpio";
		drive-strength = <16>;
		bias-disable;
	};

	ts_rst_default: ts-rst-default-state {
		pins = "gpio24";
		function = "gpio";
		bias-pull-up;
		drive-strength = <8>;
	};

	ts_rst_sleep: ts-rst-sleep-state {
		pins = "gpio24";
		function = "gpio";
		bias-pull-down;
		drive-strength = <2>;
	};

	ts_int_default: ts-int-default-state {
		pins = "gpio25";
		function = "gpio";
		bias-pull-up;
		drive-strength = <8>;
	};

	ts_int_sleep: ts-int-sleep-state {
		pins = "gpio25";
		function = "gpio";
		bias-pull-down;
		drive-strength = <2>;
	};

	ts2_irq: ts2-irq-state {
		pins = "gpio39";
		function = "gpio";
		drive-strength = <8>;
		bias-disable;
	};

	sde_dsi1_active: sde-dsi1-active-state {
		pins = "gpio137";
		function = "gpio";
		drive-strength = <8>;
		bias-disable;
		output-high;
	};

	sde_dsi1_suspend: sde-dsi1-suspend-state {
		pins = "gpio137";
		function = "gpio";
		drive-strength = <2>;
		bias-pull-down;
	};

	ts2_reset: ts2-reset-state {
		pins = "gpio38";
		function = "gpio";
		drive-strength = <8>;
		bias-pull-down;
	};
};

&uart7 {
	status = "okay";
};

/* AYANEO Controller serial interface */
&uart11 {
	status = "okay";
};

&uart14 {
	status = "okay";

	bluetooth {
		compatible = "qcom,wcn7850-bt";

		vddrfacmn-supply = <&vreg_pmu_rfa_cmn>;
		vddaon-supply = <&vreg_pmu_aon_0p59>;
		vddwlcx-supply = <&vreg_pmu_wlcx_0p8>;
		vddwlmx-supply = <&vreg_pmu_wlmx_0p85>;
		vddrfa0p8-supply = <&vreg_pmu_rfa_0p8>;
		vddrfa1p2-supply = <&vreg_pmu_rfa_1p2>;
		vddrfa1p8-supply = <&vreg_pmu_rfa_1p8>;

		max-speed = <3200000>;
	};
};

&ufs_mem_hc {
	reset-gpios = <&tlmm 210 GPIO_ACTIVE_LOW>;

	vcc-supply = <&vreg_l17b_2p5>;
	vcc-max-microamp = <1300000>;
	vccq-supply = <&vreg_l1g_1p2>;
	vccq-max-microamp = <1200000>;
	vdd-hba-supply = <&vreg_l3g_1p2>;

	status = "okay";
};

&ufs_mem_phy {
	vdda-phy-supply = <&vreg_l1d_0p88>;
	vdda-pll-supply = <&vreg_l3e_1p2>;

	status = "okay";
};

&usb_1 {
	status = "okay";
};

&usb_1_dwc3_hs {
	remote-endpoint = <&pmic_glink_hs_in>;
};

&usb_1_hsphy {
	vdd-supply = <&vreg_l1e_0p88>;
	vdda12-supply = <&vreg_l3e_1p2>;

	phys = <&pm8550b_eusb2_repeater>;

	status = "okay";
};

&usb_dp_qmpphy {
	vdda-phy-supply = <&vreg_l3e_1p2>;
	vdda-pll-supply = <&vreg_l3f_0p88>;

	status = "okay";
};

&usb_dp_qmpphy_out {
	remote-endpoint = <&redriver_ss_in>;
};

&xo_board {
	clock-frequency = <76800000>;
};
